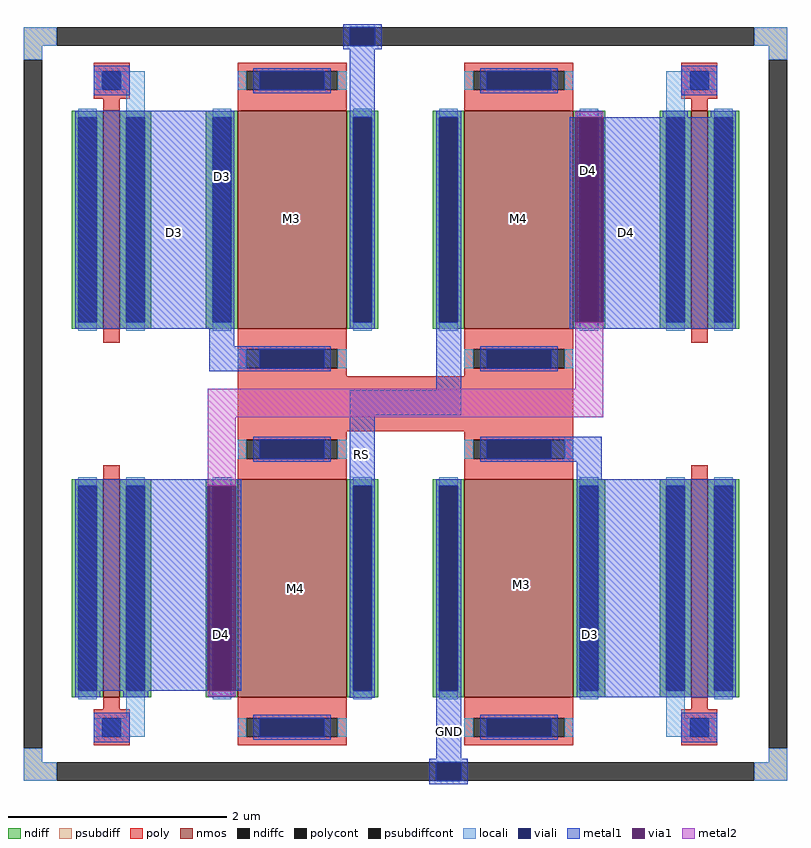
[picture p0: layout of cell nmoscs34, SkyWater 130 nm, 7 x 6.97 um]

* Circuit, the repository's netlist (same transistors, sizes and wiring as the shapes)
** sch_path: /home/raphael03/MSIB/opamp/mag/nmoscs34.sch
.subckt nmoscs34 RS D3 D4 GND
*.PININFO RS:B D3:B D4:B GND:B
XM3 D3 D3 GND GND sky130_fd_pr__nfet_01v8 L=1 W=2 nf=1 m=2
XM4 D4 D3 RS GND sky130_fd_pr__nfet_01v8 L=1 W=2 nf=1 m=2
XM1 D3 D3 D3 GND sky130_fd_pr__nfet_01v8 L=0.15 W=2 nf=1 m=2
XM2 D4 D4 D4 GND sky130_fd_pr__nfet_01v8 L=0.15 W=2 nf=1 m=2
.ends
.end

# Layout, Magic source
magic
tech sky130A
magscale 1 2
<< psubdiff >>
rect -770 609 -710 643
rect 570 609 630 643
rect -770 583 -736 609
rect 596 583 630 609
rect -770 -705 -736 -679
rect 596 -705 630 -679
rect -770 -739 -710 -705
rect 570 -739 630 -705
<< psubdiffcont >>
rect -710 609 570 643
rect -770 -679 -736 583
rect 596 -679 630 583
rect -710 -739 570 -705
<< poly >>
rect -178 2 38 3
rect -378 -98 238 2
<< locali >>
rect -770 609 -710 643
rect 570 609 630 643
rect -770 583 -736 609
rect 596 583 630 609
rect -592 528 -548 562
rect -582 478 -548 528
rect 408 528 486 562
rect 408 478 442 528
rect -582 -624 -548 -574
rect -626 -658 -548 -624
rect 408 -624 442 -574
rect 408 -658 486 -624
rect -770 -705 -736 -679
rect 596 -705 630 -679
rect -770 -739 -710 -705
rect 570 -739 630 -705
<< viali >>
rect -172 609 -126 643
rect -14 -739 32 -705
<< metal1 >>
rect -184 643 -114 649
rect -184 609 -172 643
rect -126 609 -114 643
rect -184 603 -114 609
rect -642 518 -576 572
rect -172 490 -126 603
rect 436 518 502 572
rect -676 90 -384 490
rect 231 102 241 478
rect 293 102 536 478
rect 231 90 536 102
rect -430 58 -384 90
rect -430 12 -348 58
rect -14 -23 32 90
rect -172 -69 32 -23
rect -676 -198 -371 -186
rect -172 -187 -126 -69
rect 209 -154 290 -108
rect 244 -186 290 -154
rect -676 -574 -433 -198
rect -381 -574 -371 -198
rect 244 -586 536 -186
rect -172 -587 -126 -586
rect -642 -668 -576 -614
rect -14 -699 32 -586
rect 436 -668 502 -614
rect -26 -705 44 -699
rect -26 -739 -14 -705
rect 32 -739 44 -705
rect -26 -745 44 -739
<< via1 >>
rect 241 102 293 478
rect -433 -574 -381 -198
<< metal2 >>
rect 241 478 293 488
rect 241 -20 293 102
rect -433 -72 293 -20
rect -433 -198 -381 -72
rect -433 -584 -381 -574
use sky130_fd_pr__nfet_01v8_46AAJJ  sky130_fd_pr__nfet_01v8_46AAJJ_0
transform 1 0 -278 0 1 290
box -158 -288 158 288
use sky130_fd_pr__nfet_01v8_46AAJJ  sky130_fd_pr__nfet_01v8_46AAJJ_1
transform 1 0 138 0 1 -386
box -158 -288 158 288
use sky130_fd_pr__nfet_01v8_46AAJJ  sky130_fd_pr__nfet_01v8_46AAJJ_2
transform 1 0 138 0 1 290
box -158 -288 158 288
use sky130_fd_pr__nfet_01v8_46AAJJ  sky130_fd_pr__nfet_01v8_46AAJJ_3
transform 1 0 -278 0 1 -386
box -158 -288 158 288
use sky130_fd_pr__nfet_01v8_TCR5KT  sky130_fd_pr__nfet_01v8_TCR5KT_0
transform 1 0 -609 0 -1 -417
box -73 -257 73 257
use sky130_fd_pr__nfet_01v8_TCR5KT  sky130_fd_pr__nfet_01v8_TCR5KT_1
transform 1 0 -609 0 1 321
box -73 -257 73 257
use sky130_fd_pr__nfet_01v8_TCR5KT  sky130_fd_pr__nfet_01v8_TCR5KT_2
transform 1 0 469 0 1 321
box -73 -257 73 257
use sky130_fd_pr__nfet_01v8_TCR5KT  sky130_fd_pr__nfet_01v8_TCR5KT_3
transform 1 0 469 0 -1 -417
box -73 -257 73 257
<< labels >>
flabel metal1 -493 267 -493 267 0 FreeSans 800 0 0 0 D3
port 0 nsew
flabel metal1 336 267 336 267 0 FreeSans 800 0 0 0 D4
port 1 nsew
flabel metal1 -151 -141 -151 -141 0 FreeSans 800 0 0 0 RS
port 2 nsew
flabel metal1 10 -649 10 -649 0 FreeSans 800 0 0 0 GND
port 3 nsew
flabel space 138 292 138 292 0 FreeSans 160 0 0 0 M4
flabel space -272 -387 -272 -387 0 FreeSans 160 0 0 0 M4
flabel space 142 -379 142 -379 0 FreeSans 160 0 0 0 M3
flabel space -280 292 -280 292 0 FreeSans 160 0 0 0 M3
flabel metal1 -406 370 -406 370 0 FreeSans 160 0 0 0 D3
flabel metal1 270 -471 270 -471 0 FreeSans 160 0 0 0 D3
flabel via1 265 380 265 380 0 FreeSans 160 0 0 0 D4
flabel via1 -410 -471 -406 -469 0 FreeSans 160 0 0 0 D4
<< end >>

# cell sky130_fd_pr__nfet_01v8_46AAJJ: kit device sky130_fd_pr__nfet_01v8, w 2 l 1 m 1 nf 1 diffcov 100 polycov 100 guard 0 glc 1 grc 1 gtc 1 gbc 1 tbcov 100 rlcov 100 topc 1 botc 1 poverlap 0 doverlap 1 lmin 0.15 wmin 0.42 compatible {sky130_fd_pr__nfet_01v8 sky130_fd_pr__nfet_01v8_lvt sky130_fd_bs_flash__special_sonosfet_star sky130_fd_pr__nfet_g5v0d10v5 sky130_fd_pr__nfet_05v0_nvt sky130_fd_pr__nfet_03v3_nvt} full_metal 1 viasrc 100 viadrn 100 viagate 70 viagb 0 viagr 0 viagl 0 viagt 0

# cell sky130_fd_pr__nfet_01v8_TCR5KT: kit device sky130_fd_pr__nfet_01v8, w 2 l 0.150 m 1 nf 1 diffcov 100 polycov 100 guard 0 glc 1 grc 1 gtc 1 gbc 1 tbcov 100 rlcov 100 topc 1 botc 0 poverlap 0 doverlap 1 lmin 0.15 wmin 0.42 compatible {sky130_fd_pr__nfet_01v8 sky130_fd_pr__nfet_01v8_lvt sky130_fd_bs_flash__special_sonosfet_star sky130_fd_pr__nfet_g5v0d10v5 sky130_fd_pr__nfet_05v0_nvt sky130_fd_pr__nfet_03v3_nvt} full_metal 1 viasrc 100 viadrn 100 viagate 100 viagb 0 viagr 0 viagl 0 viagt 0
